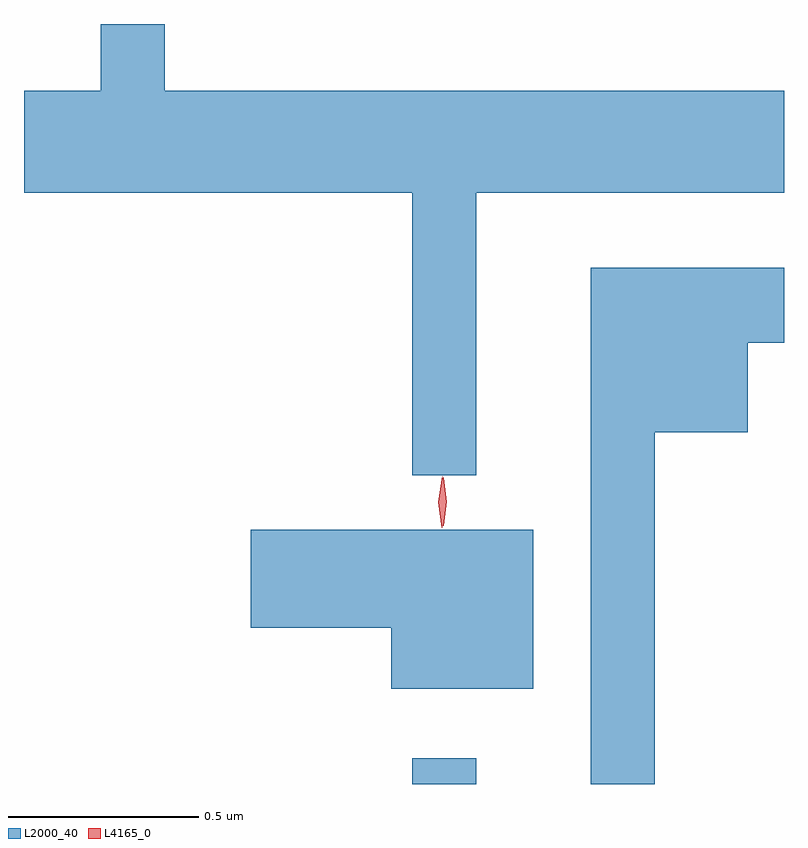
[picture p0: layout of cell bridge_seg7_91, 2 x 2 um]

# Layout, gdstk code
import gdstk
lib = gdstk.Library(unit=1e-6, precision=1e-09)
def R(c, l, rs):  # rectangles x0, y0, x1, y1
    for r in rs: c.add(gdstk.rectangle(r[:2], r[2:], *l))
def P(c, l, *ps):  # polygons
    for p in ps: c.add(gdstk.Polygon(p, *l))
L2000_40 = (2000, 40)
L4165_0 = (4165, 0)

bridge_seg7_91 = lib.new_cell('bridge_seg7_91')
R(bridge_seg7_91, L2000_40, [(1623.571,1766.04,1623.739,1766.108)])
P(bridge_seg7_91, L2000_40, [(1623.739,1767.596),(1624.549,1767.596),(1624.549,1767.864),(1622.919,1767.864),(1622.919,1768.04),(1622.751,1768.04),(1622.751,1767.864),(1622.549,1767.864),(1622.549,1767.596),(1623.571,1767.596),(1623.571,1766.853),(1623.739,1766.853)],
  [(1624.209,1766.966),(1624.454,1766.966),(1624.454,1767.201),(1624.549,1767.201),(1624.549,1767.399),(1624.041,1767.399),(1624.041,1766.04),(1624.209,1766.04)],
  [(1623.889,1766.709),(1623.146,1766.709),(1623.146,1766.451),(1623.516,1766.451),(1623.516,1766.291),(1623.889,1766.291)])
P(bridge_seg7_91, L4165_0, [(1623.648,1766.714),(1623.648,1766.714),(1623.639,1766.782),(1623.649,1766.85),(1623.65,1766.85),(1623.65,1766.85),(1623.659,1766.782),(1623.649,1766.714)],
  [(1623.652,1766.72),(1623.652,1766.72),(1623.642,1766.783),(1623.652,1766.846),(1623.652,1766.847),(1623.653,1766.846),(1623.662,1766.783),(1623.653,1766.72)])

lib.write_gds('bridge_seg7_91.gds')
